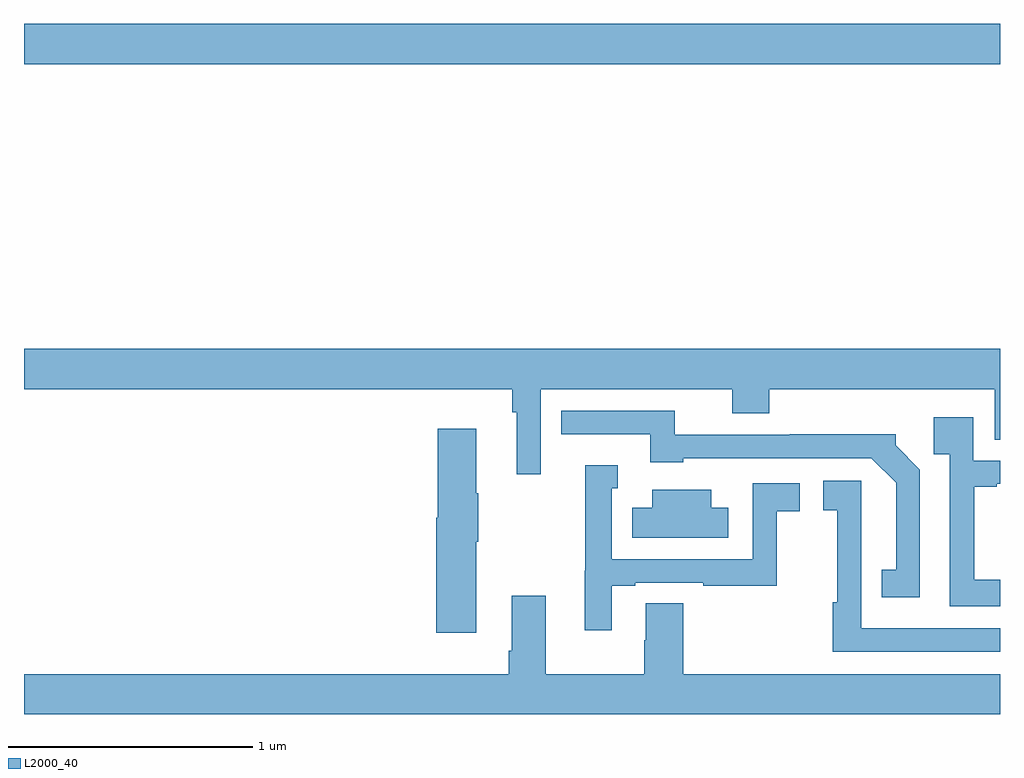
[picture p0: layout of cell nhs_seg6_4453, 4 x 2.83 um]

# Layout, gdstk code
import gdstk
lib = gdstk.Library(unit=1e-6, precision=1e-09)
def R(c, l, rs):  # rectangles x0, y0, x1, y1
    for r in rs: c.add(gdstk.rectangle(r[:2], r[2:], *l))
def P(c, l, *ps):  # polygons
    for p in ps: c.add(gdstk.Polygon(p, *l))
L2000_40 = (2000, 40)

nhs_seg6_4453 = lib.new_cell('nhs_seg6_4453')
R(nhs_seg6_4453, L2000_40, [(373,979.304,377,979.468)])
P(nhs_seg6_4453, L2000_40, [(373,977.972),(375.001,977.972),(375.001,977.876),(375.02,977.876),(375.02,977.622),(375.117,977.622),(375.117,977.972),(375.902,977.972),(375.902,977.873),(376.055,977.873),(376.055,977.972),(376.979,977.972),(376.979,977.764),(377,977.764),(377,978.136),(373,978.136)],
  [(376.671,977.642),(376.572,977.741),(376.572,977.786),(376.138,977.786),(376.138,977.784),(375.666,977.784),(375.666,977.883),(375.202,977.883),(375.202,977.787),(375.566,977.787),(375.566,977.672),(375.702,977.672),(375.702,977.688),(376.473,977.688),(376.574,977.587),(376.574,977.231),(376.516,977.231),(376.516,977.118),(376.671,977.118)],
  [(377,977.191),(376.895,977.191),(376.895,977.571),(376.987,977.571),(376.987,977.583),(377,977.583),(377,977.679),(376.89,977.679),(376.89,977.857),(376.729,977.857),(376.729,977.705),(376.794,977.705),(376.794,977.082),(377,977.082)],
  [(374.854,977.345),(374.862,977.345),(374.862,977.545),(374.854,977.545),(374.854,977.809),(374.696,977.809),(374.696,977.445),(374.69,977.445),(374.69,976.974),(374.854,976.974)],
  [(375.409,977.166),(375.505,977.166),(375.505,977.178),(375.784,977.178),(375.784,977.166),(376.086,977.166),(376.086,977.47),(376.18,977.47),(376.18,977.586),(375.987,977.586),(375.987,977.274),(375.408,977.274),(375.408,977.565),(375.433,977.565),(375.433,977.659),(375.3,977.659),(375.3,977.227),(375.299,977.227),(375.299,976.983),(375.409,976.983)],
  [(377,976.992),(376.431,976.992),(376.431,977.32),(376.432,977.32),(376.432,977.596),(376.275,977.596),(376.275,977.475),(376.333,977.475),(376.333,977.099),(376.315,977.099),(376.315,976.896),(377,976.896)],
  [(375.886,977.485),(375.817,977.485),(375.817,977.56),(375.575,977.56),(375.575,977.485),(375.493,977.485),(375.493,977.363),(375.886,977.363)],
  [(377,976.804),(375.701,976.804),(375.701,977.093),(375.548,977.093),(375.548,976.943),(375.541,976.943),(375.541,976.804),(375.139,976.804),(375.139,977.125),(374.999,977.125),(374.999,976.9),(374.987,976.9),(374.987,976.804),(373,976.804),(373,976.64),(377,976.64)])

lib.write_gds('nhs_seg6_4453.gds')
